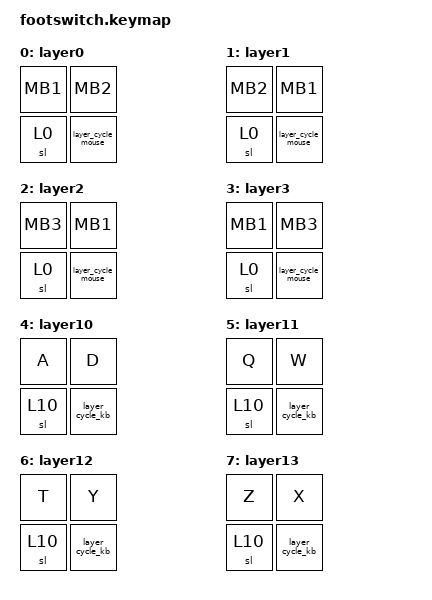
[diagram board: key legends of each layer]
#include <behaviors.dtsi>
#include <dt-bindings/zmk/keys.h>
#include <dt-bindings/zmk/bt.h>
#include <dt-bindings/zmk/mouse.h>

/ {
    behaviors {
        layer_cycle_mouse: behavior_layer_cycle_mouse {
            compatible = "zmk,behavior-layer-cycle";
            label = "MOUSE_LAYER_CYCLE";
            #binding-cells = <0>;
        };

        layer_cycle_kb: behavior_layer_cycle_kb {
            compatible = "zmk,behavior-layer-cycle";
            label = "KB_LAYER_CYCLE";
            #binding-cells = <0>;
        };
    };

    keymap {
        compatible = "zmk,keymap";

        // -----------------
        // 마우스 모드 (Layer 0~3)
        // -----------------
        layer0 {
            bindings = <
                &kp MB1   &kp MB2
                &sl 0     &layer_cycle_mouse
            >;
        };
        layer1 {
            bindings = <
                &kp MB2   &kp MB1
                &sl 0     &layer_cycle_mouse
            >;
        };
        layer2 {
            bindings = <
                &kp MB3   &kp MB1
                &sl 0     &layer_cycle_mouse
            >;
        };
        layer3 {
            bindings = <
                &kp MB1   &kp MB3
                &sl 0     &layer_cycle_mouse
            >;
        };

        // -----------------
        // 키보드 모드 (Layer 10~13)
        // -----------------
        layer10 {
            bindings = <
                &kp A     &kp D
                &sl 10    &layer_cycle_kb
            >;
        };
        layer11 {
            bindings = <
                &kp Q     &kp W
                &sl 10    &layer_cycle_kb
            >;
        };
        layer12 {
            bindings = <
                &kp T     &kp Y
                &sl 10    &layer_cycle_kb
            >;
        };
        layer13 {
            bindings = <
                &kp Z     &kp X
                &sl 10    &layer_cycle_kb
            >;
        };
    };
};


